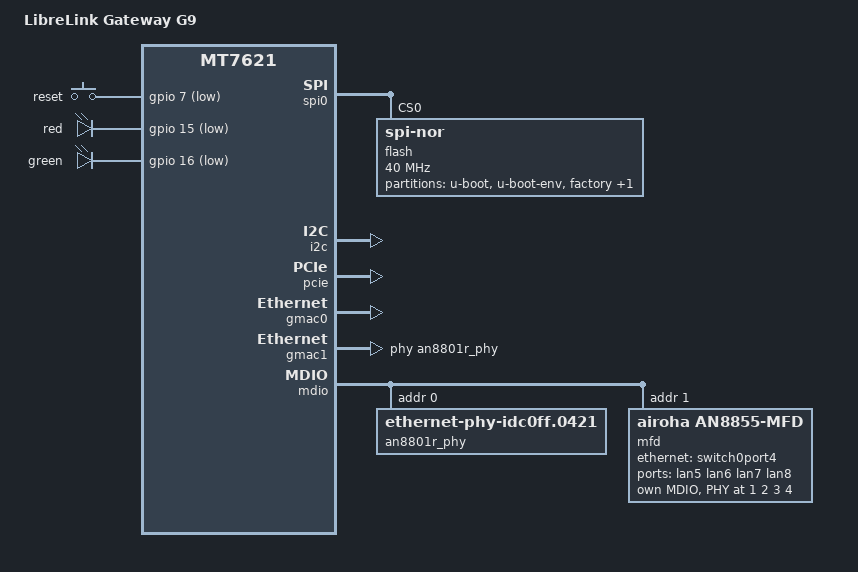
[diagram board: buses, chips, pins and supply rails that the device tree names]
// SPDX-License-Identifier: GPL-2.0-or-later OR MIT

#include "mt7621.dtsi"

#include <dt-bindings/gpio/gpio.h>
#include <dt-bindings/input/input.h>
/ {
    compatible = "librelink,g9", "mediatek,mt7621-soc";
    model = "LibreLink Gateway G9";

    chosen {
        bootargs = "console=ttyS0,115200";
    };

	keys {
		compatible = "gpio-keys";

		reset {
			label = "reset";
			gpios = <&gpio 7 GPIO_ACTIVE_LOW>;
			linux,code = <KEY_RESTART>;
		};
	};

    leds {
        compatible = "gpio-leds";

        red {
            label = "red";
            gpios = <&gpio 15 GPIO_ACTIVE_LOW>;
            default-state = "on";
            linux,default-trigger = "timer";
        };

        green {
            label = "green";
            gpios = <&gpio 16 GPIO_ACTIVE_LOW>;
            default-state = "on";
            linux,default-trigger = "timer";
        };
    };
};

&spi0 {
	status = "okay";

	flash@0 {
		compatible = "jedec,spi-nor";
		reg = <0>;
		spi-max-frequency = <40000000>;

		partitions {
			compatible = "fixed-partitions";
			#address-cells = <1>;
			#size-cells = <1>;

			partition@0 {
				label = "u-boot";
				reg = <0x0 0x30000>;
			};

			partition@30000 {
				label = "u-boot-env";
				reg = <0x30000 0x10000>;
			};

			partition@40000 {
				label = "factory";
				reg = <0x40000 0x10000>;

				nvmem-layout {
					compatible = "fixed-layout";
					#address-cells = <1>;
					#size-cells = <1>;

					macaddr_factory_e000: macaddr@e000 {
						reg = <0xe000 0x6>;
					};

					macaddr_factory_e006: macaddr@e006 {
						reg = <0xe006 0x6>;
					};
				};
			};

			partition@50000 {
				label = "firmware";
				reg = <0x50000 0xfb0000>;
				compatible = "denx,uimage";
			};
		};
	};
};

&i2c {
	status = "okay";
};

&pcie {
	status = "okay";
};

&ethernet {
	pinctrl-0 = <&mdio_pins>, <&rgmii1_pins>, <&rgmii2_pins>;
};

/* Internal PHY at switch port 4 is unused: it is now the RGMII cascade
   link to the external AN8855H switch, not a PHY. */
&ethphy4 {
	status = "disabled";
};

&gmac0 {
	status = "okay";

	nvmem-cells = <&macaddr_factory_e000 0>;
	nvmem-cell-names = "mac-address";
};

&gmac1 {
	status = "okay";

	label = "wan";
	phy-handle = <&an8801r_phy>;

	nvmem-cells = <&macaddr_factory_e006 1>;
	nvmem-cell-names = "mac-address";
};

/* MT7621 internal mt7530 switch.
   ports 0..3 -> LAN1..LAN4 (internal PHYs).
   port 4 -> RGMII cascade to the external AN8855H switch (CPU/uplink port 5).
   port 6 -> CPU link to gmac0 (defined in mt7621.dtsi). */
&switch0 {
	ports {
		port@0 {
			status = "okay";
			label = "lan1";
		};

		port@1 {
			status = "okay";
			label = "lan2";
		};

		port@2 {
			status = "okay";
			label = "lan3";
		};

		port@3 {
			status = "okay";
			label = "lan4";
		};

		/* Cascade port to AN8855H. Mirrors the in-tree cross-chip DSA
		   convention (bcm6328-inteno-xg6846.dts): the downstream switch's
		   CPU port references this labeled port via
		   `ethernet = <&switch0port4>`. */
		switch0port4: port@4 {
			status = "okay";
			label = "dsa";
			phy-mode = "rgmii";

			fixed-link {
				speed = <1000>;
				full-duplex;
			};
		};
	};
};

/* External MDIO bus children: AN8801R (WAN PHY) and AN8855H (5-port switch). */
&mdio {
	/* FLAG: AN8801R MDIO address is board-specific. reg <0> chosen to avoid
	   collision with switch@1f (0x1f) and the AN8855H mfd@1 (reg <1>).
	   Verify against the board schematic. */
	an8801r_phy: ethernet-phy@0 {
		/* FLAG: AN8801R PHY ID is board-specific. The value below is the
		   AN8801SB-family ID; the "R" variant PHY ID may differ. Verify
		   with `mdio read` / datasheet. */
		compatible = "ethernet-phy-idc0ff.0421";
		reg = <0>;
		eee-broken-100tx;
		eee-broken-1000t;
		/* FLAG: AN8801R reset GPIO unknown - verify and add if required,
		   e.g. reset-gpios = <&gpio X GPIO_ACTIVE_LOW>; */
	};

	mfd@1 {
		compatible = "airoha,an8855-mfd";
		reg = <1>;
		status = "okay";

		efuse {
			compatible = "airoha,an8855-efuse";
			#nvmem-cell-cells = <0>;

			nvmem-layout {
				compatible = "fixed-layout";
				#address-cells = <1>;
				#size-cells = <1>;

				shift_sel_port0_tx_a: shift-sel-port0-tx-a@c {
					reg = <0xc 0x4>;
				};

				shift_sel_port0_tx_b: shift-sel-port0-tx-b@10 {
					reg = <0x10 0x4>;
				};

				shift_sel_port0_tx_c: shift-sel-port0-tx-c@14 {
					reg = <0x14 0x4>;
				};

				shift_sel_port0_tx_d: shift-sel-port0-tx-d@18 {
					reg = <0x18 0x4>;
				};

				shift_sel_port1_tx_a: shift-sel-port1-tx-a@1c {
					reg = <0x1c 0x4>;
				};

				shift_sel_port1_tx_b: shift-sel-port1-tx-b@20 {
					reg = <0x20 0x4>;
				};

				shift_sel_port1_tx_c: shift-sel-port1-tx-c@24 {
					reg = <0x24 0x4>;
				};

				shift_sel_port1_tx_d: shift-sel-port1-tx-d@28 {
					reg = <0x28 0x4>;
				};

				shift_sel_port2_tx_a: shift-sel-port2-tx-a@2c {
					reg = <0x2c 0x4>;
				};

				shift_sel_port2_tx_b: shift-sel-port2-tx-b@30 {
					reg = <0x30 0x4>;
				};

				shift_sel_port2_tx_c: shift-sel-port2-tx-c@34 {
					reg = <0x34 0x4>;
				};

				shift_sel_port2_tx_d: shift-sel-port2-tx-d@38 {
					reg = <0x38 0x4>;
				};

				shift_sel_port3_tx_a: shift-sel-port3-tx-a@4c {
					reg = <0x4c 0x4>;
				};

				shift_sel_port3_tx_b: shift-sel-port3-tx-b@50 {
					reg = <0x50 0x4>;
				};

				shift_sel_port3_tx_c: shift-sel-port3-tx-c@54 {
					reg = <0x54 0x4>;
				};

				shift_sel_port3_tx_d: shift-sel-port3-tx-d@58 {
					reg = <0x58 0x4>;
				};
			};
		};

		ethernet-switch {
			compatible = "airoha,an8855-switch";
			/* FLAG: AN8855H reset GPIO is a placeholder - verify the
			   exact GPIO/polarity against the board. */
			reset-gpios = <&gpio 0 GPIO_ACTIVE_HIGH>;

			ports {
				#address-cells = <1>;
				#size-cells = <0>;

				port@0 {
					reg = <0>;
					label = "lan5";
					phy-mode = "internal";
					phy-handle = <&internal_phy1>;
				};

				port@1 {
					reg = <1>;
					label = "lan6";
					phy-mode = "internal";
					phy-handle = <&internal_phy2>;
				};

				port@2 {
					reg = <2>;
					label = "lan7";
					phy-mode = "internal";
					phy-handle = <&internal_phy3>;
				};

				port@3 {
					reg = <3>;
					label = "lan8";
					phy-mode = "internal";
					phy-handle = <&internal_phy4>;
				};

				/* AN8855 CPU/uplink port (hardcoded =5 in driver),
				   connected via RGMII to the MT7621 internal switch
				   port 4. References the labeled upstream cascade port
				   (switch0port4) per the in-tree cross-chip DSA
				   convention. */
				port@5 {
					reg = <5>;
					ethernet = <&switch0port4>;
					phy-mode = "rgmii";

					fixed-link {
						speed = <1000>;
						full-duplex;
						pause;
					};
				};
			};
		};

		mdio {
			compatible = "airoha,an8855-mdio";
			#address-cells = <1>;
			#size-cells = <0>;

			internal_phy1: phy@1 {
				reg = <1>;

				nvmem-cells = <&shift_sel_port0_tx_a>,
						<&shift_sel_port0_tx_b>,
						<&shift_sel_port0_tx_c>,
						<&shift_sel_port0_tx_d>;
				nvmem-cell-names = "tx_a", "tx_b", "tx_c", "tx_d";
			};

			internal_phy2: phy@2 {
				reg = <2>;

				nvmem-cells = <&shift_sel_port1_tx_a>,
						<&shift_sel_port1_tx_b>,
						<&shift_sel_port1_tx_c>,
						<&shift_sel_port1_tx_d>;
				nvmem-cell-names = "tx_a", "tx_b", "tx_c", "tx_d";
			};

			internal_phy3: phy@3 {
				reg = <3>;

				nvmem-cells = <&shift_sel_port2_tx_a>,
						<&shift_sel_port2_tx_b>,
						<&shift_sel_port2_tx_c>,
						<&shift_sel_port2_tx_d>;
				nvmem-cell-names = "tx_a", "tx_b", "tx_c", "tx_d";
			};

			internal_phy4: phy@4 {
				reg = <4>;

				nvmem-cells = <&shift_sel_port3_tx_a>,
						<&shift_sel_port3_tx_b>,
						<&shift_sel_port3_tx_c>,
						<&shift_sel_port3_tx_d>;
				nvmem-cell-names = "tx_a", "tx_b", "tx_c", "tx_d";
			};
		};
	};
};

&state_default {
	gpio {
		groups = "wdt", "jtag";
		function = "gpio";
	};
};
